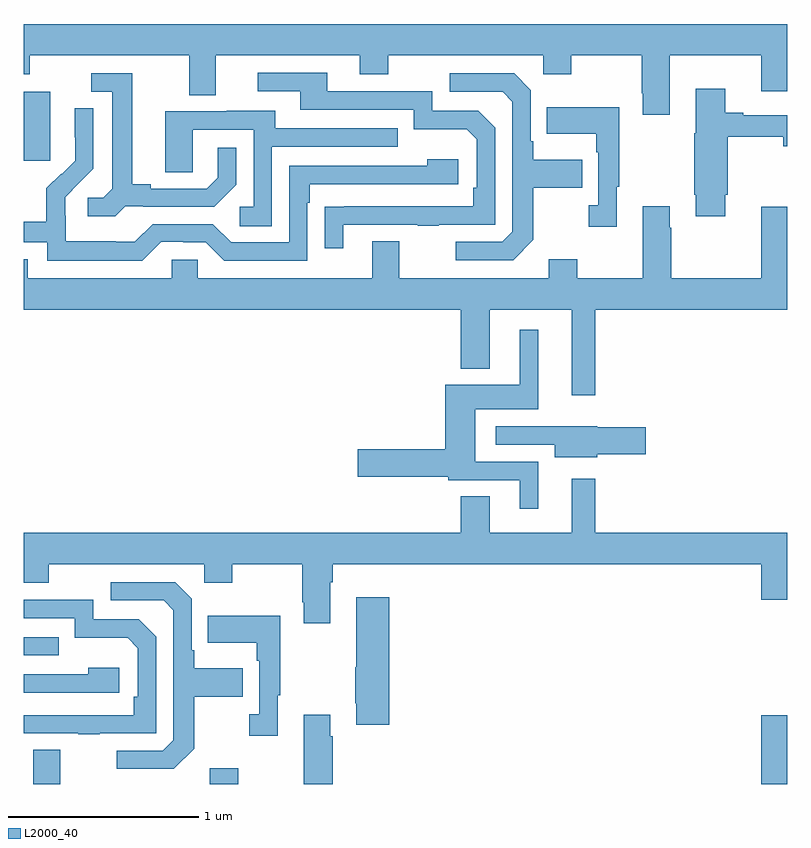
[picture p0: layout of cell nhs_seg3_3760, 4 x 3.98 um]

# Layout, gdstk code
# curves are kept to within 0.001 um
import gdstk
lib = gdstk.Library(unit=1e-6, precision=1e-09)
def R(c, l, rs):  # rectangles x0, y0, x1, y1
    for r in rs: c.add(gdstk.rectangle(r[:2], r[2:], *l))
def P(c, l, *ps):  # polygons
    for p in ps: c.add(gdstk.Polygon(p, *l))
L2000_40 = (2000, 40)

nhs_seg3_3760 = lib.new_cell('nhs_seg3_3760')
R(nhs_seg3_3760, L2000_40, [(305.051,730.4,305.191,730.579), (305.975,730.4,306.123,730.483), (308.864,730.4,309,730.759), (305,731.073,305.183,731.169), (305,733.665,305.14,734.026)])
P(nhs_seg3_3760, L2000_40, [(308.383,734.216),(308.864,734.216),(308.864,734.028),(309,734.028),(309,734.38),(305,734.38),(305,734.117),(305.031,734.117),(305.031,734.216),(305.867,734.216),(305.867,734.008),(306.007,734.008),(306.007,734.216),(306.761,734.216),(306.761,734.117),(306.909,734.117),(306.909,734.216),(307.722,734.216),(307.722,734.117),(307.869,734.117),(307.869,734.216),(308.236,734.216),(308.236,734.017),(308.243,734.017),(308.243,733.905),(308.383,733.905)],
  [(306.673,733.329),(307.063,733.329),(307.063,733.324),(307.175,733.324),(307.175,733.329),(307.47,733.329),(307.47,733.836),(307.38,733.926),(307.14,733.926),(307.14,734.028),(306.589,734.028),(306.589,734.124),(306.225,734.124),(306.225,734.028),(306.449,734.028),(306.449,733.932),(307.044,733.932),(307.044,733.829),(307.321,733.829),(307.374,733.776),(307.374,733.522),(307.354,733.522),(307.354,733.425),(306.577,733.424),(306.577,733.206),(306.673,733.206)],
  [(305.532,733.425),(305.626,733.425),(305.626,733.422),(305.998,733.422),(306.114,733.538),(306.114,733.732),(306.017,733.732),(306.017,733.575),(305.96,733.518),(305.665,733.518),(305.665,733.541),(305.569,733.541),(305.569,734.121),(305.355,734.121),(305.355,734.025),(305.465,734.025),(305.465,733.517),(305.418,733.47),(305.337,733.47),(305.337,733.373),(305.48,733.373)],
  [(307.669,733.249),(307.669,733.522),(307.925,733.522),(307.925,733.669),(307.669,733.669),(307.669,733.765),(307.656,733.765),(307.656,734.034),(307.569,734.121),(307.233,734.121),(307.233,734.025),(307.509,734.025),(307.56,733.974),(307.56,733.293),(307.506,733.239),(307.263,733.239),(307.263,733.143),(307.563,733.143)],
  [(308.674,733.486),(308.687,733.486),(308.687,733.79),(308.978,733.79),(308.978,733.739),(309,733.739),(309,733.902),(308.77,733.902),(308.77,733.915),(308.674,733.915),(308.674,734.041),(308.519,734.041),(308.519,733.809),(308.512,733.809),(308.512,733.486),(308.519,733.486),(308.519,733.374),(308.674,733.374)],
  [(308.107,733.529),(308.119,733.529),(308.119,733.945),(307.741,733.945),(307.741,733.805),(307.998,733.805),(307.998,733.709),(308.01,733.709),(308.01,733.43),(307.959,733.43),(307.959,733.317),(308.107,733.317)],
  [(305.721,733.239),(305.837,733.239),(305.837,733.236),(305.955,733.236),(306.051,733.14),(306.486,733.14),(306.486,733.445),(306.499,733.445),(306.499,733.542),(307.276,733.542),(307.276,733.672),(307.115,733.672),(307.115,733.638),(306.39,733.638),(306.39,733.236),(306.087,733.236),(305.991,733.332),(305.676,733.332),(305.583,733.239),(305.483,733.239),(305.483,733.243),(305.22,733.243),(305.22,733.377),(305.218,733.377),(305.218,733.474),(305.364,733.622),(305.364,733.94),(305.268,733.94),(305.268,733.786),(305.27,733.786),(305.27,733.664),(305.199,733.593),(305.196,733.596),(305.119,733.519),(305.119,733.345),(305,733.345),(305,733.236),(305.124,733.236),(305.124,733.139),(305.621,733.139)],
  [(306.3,733.737),(306.959,733.737),(306.959,733.833),(306.319,733.833),(306.319,733.927),(306.065,733.927),(306.065,733.923),(305.741,733.923),(305.741,733.603),(305.886,733.603),(305.886,733.827),(306.204,733.827),(306.204,733.422),(306.132,733.422),(306.132,733.321),(306.3,733.321)],
  [(307.993,732.884),(309,732.884),(309,733.423),(308.864,733.423),(308.864,733.048),(308.391,733.048),(308.391,733.313),(308.383,733.313),(308.383,733.426),(308.243,733.426),(308.243,733.048),(307.899,733.048),(307.899,733.147),(307.751,733.147),(307.751,733.048),(306.967,733.048),(306.967,733.243),(306.827,733.243),(306.827,733.048),(305.913,733.048),(305.913,733.146),(305.775,733.146),(305.775,733.048),(305.023,733.048),(305.023,733.147),(305,733.147),(305,732.884),(307.289,732.884),(307.289,732.575),(307.441,732.575),(307.441,732.884),(307.871,732.884),(307.871,732.435),(307.993,732.435)],
  [(307.696,732.087),(307.366,732.087),(307.366,732.362),(307.696,732.362),(307.696,732.778),(307.598,732.778),(307.598,732.49),(307.208,732.49),(307.208,732.152),(306.75,732.152),(306.75,732.01),(307.224,732.01),(307.224,731.991),(307.598,731.991),(307.598,731.841),(307.696,731.841)],
  [(308.004,732.127),(308.257,732.127),(308.257,732.269),(308.004,732.269),(308.004,732.274),(307.785,732.274),(307.785,732.273),(307.473,732.273),(307.473,732.177),(307.781,732.177),(307.781,732.11),(308.004,732.11)],
  [(306.607,731.456),(306.62,731.456),(306.62,731.552),(308.864,731.552),(308.864,731.364),(309,731.364),(309,731.716),(307.993,731.716),(307.993,731.998),(307.871,731.998),(307.871,731.716),(307.441,731.716),(307.441,731.906),(307.289,731.906),(307.289,731.716),(305,731.716),(305,731.453),(305.133,731.453),(305.133,731.552),(305.946,731.552),(305.946,731.453),(306.093,731.453),(306.093,731.552),(306.46,731.552),(306.46,731.353),(306.467,731.353),(306.467,731.241),(306.607,731.241)],
  [(305.893,730.585),(305.893,730.858),(306.149,730.858),(306.149,731.005),(305.893,731.005),(305.893,731.101),(305.88,731.101),(305.88,731.37),(305.793,731.457),(305.457,731.457),(305.457,731.361),(305.733,731.361),(305.784,731.31),(305.784,730.629),(305.73,730.575),(305.487,730.575),(305.487,730.479),(305.787,730.479)],
  [(306.916,731.377),(306.743,731.377),(306.743,731.011),(306.736,731.011),(306.736,730.822),(306.743,730.822),(306.743,730.71),(306.916,730.71)],
  [(305.399,730.665),(305.694,730.665),(305.694,731.172),(305.604,731.262),(305.364,731.262),(305.364,731.364),(305,731.364),(305,731.268),(305.268,731.268),(305.268,731.165),(305.545,731.165),(305.598,731.112),(305.598,730.858),(305.578,730.858),(305.578,730.761),(305,730.761),(305,730.665),(305.287,730.665),(305.287,730.66),(305.399,730.66)],
  [(306.331,730.865),(306.343,730.865),(306.343,731.281),(305.965,731.281),(305.965,731.141),(306.222,731.141),(306.222,731.045),(306.234,731.045),(306.234,730.766),(306.183,730.766),(306.183,730.653),(306.331,730.653)],
  [(305.5,731.008),(305.339,731.008),(305.339,730.974),(305,730.974),(305,730.878),(305.5,730.878)],
  [(306.62,730.649),(306.607,730.649),(306.607,730.762),(306.467,730.762),(306.467,730.4),(306.62,730.4)])

lib.write_gds('nhs_seg3_3760.gds')
